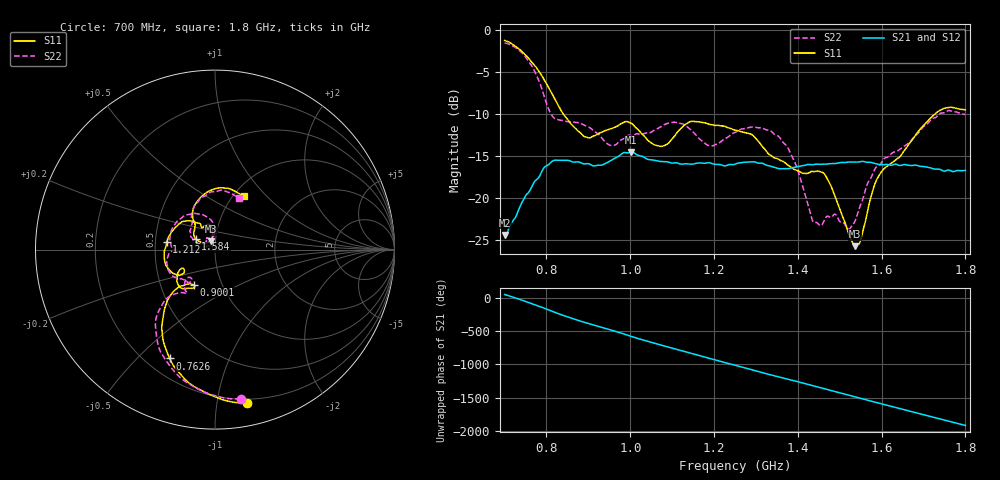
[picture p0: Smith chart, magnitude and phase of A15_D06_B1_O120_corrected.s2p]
! Created with skrf 1.9.0 (http://scikit-rf.org).
# Hz S RI R 50.0
!freq ReS11 ImS11 ReS21 ImS21 ReS12 ImS12 ReS22 ImS22
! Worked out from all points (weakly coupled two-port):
!   1601 points, 700 MHz to 1.8 GHz, reference 50 ohm
!   highest |S21| = -14.47 dB at 1.002 GHz (marker M1); lowest = -24.4 dB at 700 MHz (marker M2)
!   lowest |S11| = -25.7 dB at 1.537 GHz (marker M3), VSWR 1.11, Z = 47.5 + j4.41 ohm
!   |S11| at or under -10 dB: 840.8 MHz to 1.726 GHz (885.3 MHz wide, 69 % of centre)
!   |S22| runs from -23.7 to -1.5 dB; largest |S21 - S12| = 0.0035
!   S11 on the Smith chart (normalised r, x): 700 MHz: 0.17, -1.21; 762.6 MHz: 0.29, -0.63; 900.1 MHz: 0.73, -0.30; 1.212 GHz: 0.57, +0.05; 1.584 GHz: 0.80, +0.10; 1.8 GHz: 1.12, +0.75
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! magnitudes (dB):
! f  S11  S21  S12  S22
! 700 MHz  -1.2  -24.4  -24.1  -1.5
! 762.6 MHz  -3.6  -18.8  -18.8  -4.0
! 815.5 MHz  -7.7  -15.5  -15.6  -10.3
! 883.6 MHz  -12.3  -15.8  -15.7  -11.1
! 900.1 MHz  -12.8  -15.9  -15.9  -11.5
! 953.7 MHz  -11.7  -15.5  -15.5  -13.7
! 1.002 GHz  -11.1  -14.5  -14.6  -12.5
! 1.067 GHz  -13.7  -15.6  -15.5  -11.6
! 1.143 GHz  -10.9  -15.9  -15.9  -11.7
! 1.212 GHz  -11.3  -16.0  -15.9  -13.4
! 1.25 GHz  -11.9  -15.9  -15.8  -12.1
! 1.357 GHz  -15.4  -16.5  -16.4  -12.8
! 1.395 GHz  -16.6  -16.3  -16.2  -16.0
! 1.434 GHz  -16.8  -16.0  -15.9  -22.5
! 1.469 GHz  -17.5  -15.9  -15.9  -22.2
! 1.521 GHz  -24.1  -15.7  -15.7  -23.7
! 1.537 GHz  -25.7  -15.7  -15.7  -22.7
! 1.55 GHz  -24.9  -15.6  -15.6  -20.7
! 1.584 GHz  -18.2  -15.8  -15.8  -16.5
! 1.617 GHz  -16.0  -16.0  -16.0  -15.0
! 1.733 GHz  -9.7  -16.5  -16.5  -10.2
! 1.8 GHz  -9.4  -16.7  -16.6  -10.0
